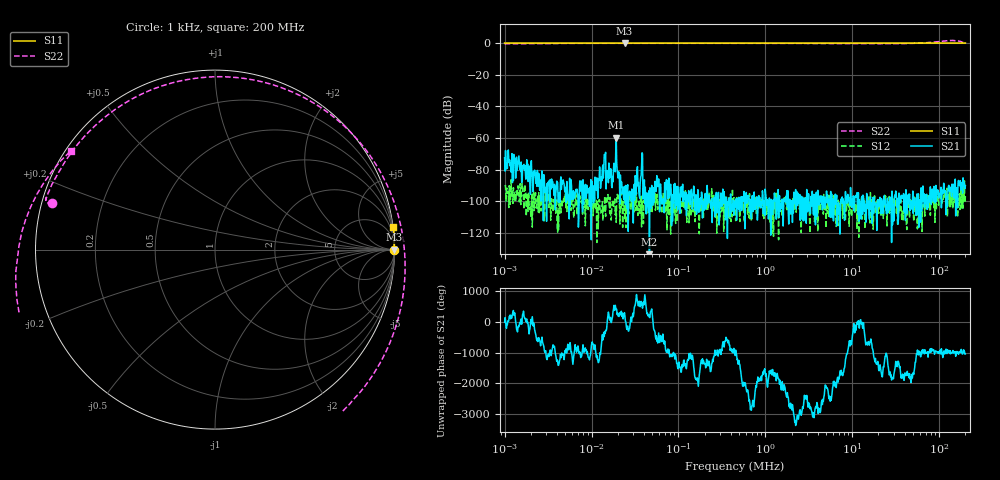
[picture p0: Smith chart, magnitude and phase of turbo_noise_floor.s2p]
! ListType=Log
# MHZ S RI R 50
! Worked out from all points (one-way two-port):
!   1000 points, 1 kHz to 200 MHz, reference 50 ohm
!   highest |S21| = -59.78 dB at 19.24 kHz (marker M1); lowest = -137.0 dB at 46.36 kHz (marker M2)
!   lowest |S11| = 0.0 dB at 23.97 kHz (marker M3)
!   |S11| at or under -10 dB: nowhere
!   |S22| runs from -0.5 to 1.7 dB; largest |S21 - S12| = 0.001
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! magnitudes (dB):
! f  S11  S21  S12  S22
! 1 kHz  0.0  -72.4  -89.9  -0.5
! 1.292 kHz  0.0  -75.6  -96.0  -0.4
! 2.186 kHz  0.0  -83.5  -105.8  -0.3
! 7.694 kHz  0.0  -91.5  -101.3  -0.2
! 12.54 kHz  0.0  -85.2  -106.8  -0.1
! 13.66 kHz  0.0  -85.3  -104.0  -0.1
! 17.02 kHz  0.0  -90.3  -106.2  -0.1
! 17.66 kHz  0.0  -87.7  -99.9  -0.1
! 18.32 kHz  0.0  -77.0  -100.2  -0.1
! 19.24 kHz  0.0  -59.8  -113.3  -0.1
! 20.2 kHz  0.0  -85.3  -98.1  -0.1
! 20.95 kHz  0.0  -86.6  -102.5  -0.1
! 23.97 kHz  0.0  -90.6  -107.1  -0.1
! 35.01 kHz  0.0  -93.9  -106.1  -0.1
! 36.31 kHz  0.0  -88.2  -107.7  -0.1
! 46.36 kHz  0.0  -137.0  -100.1  -0.1
! 58.48 kHz  0.0  -88.8  -102.4  -0.1
! 450 kHz  0.0  -100.0  -102.7  -0.2
! 3.42 MHz  0.0  -102.9  -102.6  -0.2
! 26.31 MHz  0.0  -105.6  -106.0  -0.4
! 140.3 MHz  0.0  -89.1  -94.9  1.6
! 200 MHz  0.0  -90.2  -96.8  -0.2
